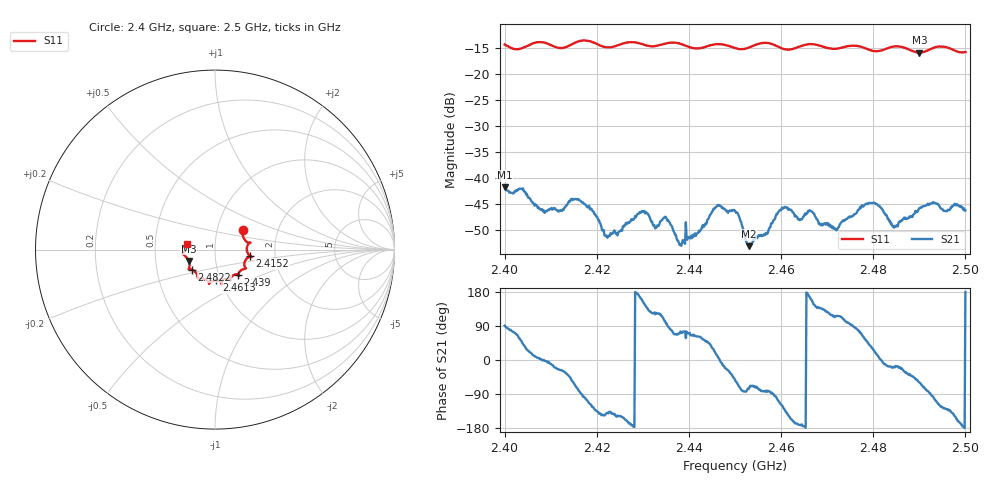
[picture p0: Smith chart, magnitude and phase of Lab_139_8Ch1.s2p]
# Hz S RI R
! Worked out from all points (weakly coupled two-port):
!   601 points, 2.4 GHz to 2.5 GHz, reference 50 ohm
!   highest |S21| = -41.76 dB at 2.4 GHz (marker M1); lowest = -53.1 dB at 2.453 GHz (marker M2)
!   lowest |S11| = -15.9 dB at 2.49 GHz (marker M3), VSWR 1.38, Z = 36.9 - j4.84 ohm
!   |S11| at or under -10 dB: start of sweep to end of sweep
!   S12 and S22 are empty: the file has one direction only
!   S11 on the Smith chart (normalised r, x): 2.4 GHz: 1.33, +0.31; 2.4152 GHz: 1.48, -0.11; 2.439 GHz: 1.24, -0.36; 2.4613 GHz: 0.96, -0.34; 2.4822 GHz: 0.76, -0.17; 2.5 GHz: 0.72, +0.05
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2.4e9  0.1558 0.1108  -9.86e-05 0.00816  0 0  0 0
2.408833e9  0.195 0.0386  0.00477 -0.000258  0 0  0 0
2.415167e9  0.1947 -0.0359  0.00271 -0.00563  0 0  0 0
2.416667e9  0.2043 -0.0417  6.49e-05 -0.00591  0 0  0 0
2.422167e9  0.1689 -0.0615  -0.00216 -0.00178  0 0  0 0
2.429833e9  0.1606 -0.1077  -0.00449 0.00178  0 0  0 0
2.433333e9  0.1325 -0.1327  -0.00188 0.00293  0 0  0 0
2.435e9  0.132 -0.145  -0.000481 0.00419  0 0  0 0
2.437833e9  0.1336 -0.1439  0.000826 0.00224  0 0  0 0
2.439e9  0.1275 -0.139  0.000662 0.00232  0 0  0 0
2.446167e9  0.0852 -0.1734  0.0054 0.00102  0 0  0 0
2.45e9  0.0687 -0.1632  0.003 -0.00381  0 0  0 0
2.453e9  0.0388 -0.1748  0.000535 -0.00215  0 0  0 0
2.461333e9  0.00779 -0.1708  -0.0041 -0.00326  0 0  0 0
2.466667e9  -0.0332 -0.1902  -0.00443 0.00181  0 0  0 0
2.471833e9  -0.0637 -0.1622  -0.0014 0.00293  0 0  0 0
2.478667e9  -0.0994 -0.1421  0.0037 0.00424  0 0  0 0
2.482167e9  -0.1283 -0.1118  0.00479 -0.000653  0 0  0 0
2.483333e9  -0.1396 -0.1101  0.00387 -0.00119  0 0  0 0
2.484833e9  -0.1471 -0.1103  0.00329 -0.000926  0 0  0 0
2.49e9  -0.1468 -0.0638  0.00265 -0.0044  0 0  0 0
2.5e9  -0.1585 0.0339  -0.00489 8e-05  0 0  0 0
